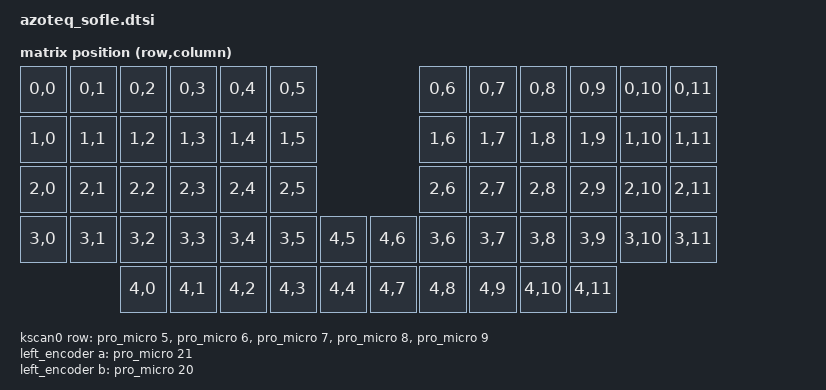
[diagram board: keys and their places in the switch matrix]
#include <dt-bindings/zmk/matrix_transform.h>
#include <dt-bindings/led/led.h>
#include <zephyr/dt-bindings/i2c/i2c.h>
#include <dt-bindings/pinctrl/nrf-pinctrl.h>

// #include "azoteq_sofle-layouts.dtsi"
#include "azoteq_sofle-pinctrl.dtsi"
#include <layouts/josefadamcik/sofle.dtsi>

&josefadamcik_sofle_layout {
    transform = <&default_transform>;
};

/ {
    chosen {
        zmk,kscan = &kscan0;
        zmk,matrix_transform = &default_transform;
        // zmk,physical-layout = &azoteq_sofle_layout;
        zmk,physical-layout = &josefadamcik_sofle_layout;
        zmk,underglow = &led_strip;
        zmk,battery = &vbatt;
    };

    default_transform: keymap_transform_0 {
        compatible = "zmk,matrix-transform";
        columns = <14>;
        rows = <5>;
        map = <
RC(0,0) RC(0,1) RC(0,2) RC(0,3) RC(0,4) RC(0,5)                 RC(0,6) RC(0,7) RC(0,8)  RC(0,9) RC(0,10) RC(0,11)
RC(1,0) RC(1,1) RC(1,2) RC(1,3) RC(1,4) RC(1,5)                 RC(1,6) RC(1,7) RC(1,8)  RC(1,9) RC(1,10) RC(1,11)
RC(2,0) RC(2,1) RC(2,2) RC(2,3) RC(2,4) RC(2,5)                 RC(2,6) RC(2,7) RC(2,8)  RC(2,9) RC(2,10) RC(2,11)
RC(3,0) RC(3,1) RC(3,2) RC(3,3) RC(3,4) RC(3,5) RC(4,5) RC(4,6) RC(3,6) RC(3,7) RC(3,8)  RC(3,9) RC(3,10) RC(3,11)
                RC(4,0) RC(4,1) RC(4,2) RC(4,3) RC(4,4) RC(4,7) RC(4,8) RC(4,9) RC(4,10) RC(4,11)
        >;
    };

    kscan0: kscan {
        wakeup-source;
        diode-direction = "col2row";
        row-gpios
            = <&pro_micro 5 (GPIO_ACTIVE_HIGH | GPIO_PULL_DOWN)>
            , <&pro_micro 6 (GPIO_ACTIVE_HIGH | GPIO_PULL_DOWN)>
            , <&pro_micro 7 (GPIO_ACTIVE_HIGH | GPIO_PULL_DOWN)>
            , <&pro_micro 8 (GPIO_ACTIVE_HIGH | GPIO_PULL_DOWN)>
            , <&pro_micro 9 (GPIO_ACTIVE_HIGH | GPIO_PULL_DOWN)>
            ;
    };

    left_encoder: encoder_left {
        status = "disabled";
        compatible = "alps,ec11";
        label = "LEFT_ENCODER";
        resolution = <4>;
        steps = <40>;
        a-gpios = <&pro_micro 21 (GPIO_ACTIVE_HIGH | GPIO_PULL_UP)>;
        b-gpios = <&pro_micro 20 (GPIO_ACTIVE_HIGH | GPIO_PULL_UP)>;
    };

    sensors {
		compatible = "zmk,keymap-sensors";
		sensors = <&left_encoder>;
	};

    vbatt: vbatt {
        compatible = "zmk,battery-nrf-vddh";
        init-delay-ms = <50>;
    };

};

&spi3 {
    status = "okay";
    compatible = "nordic,nrf-spim";
    pinctrl-0 = <&spi3_default>;
    pinctrl-1 = <&spi3_sleep>;
    pinctrl-names = "default", "sleep";

    led_strip: ws2812@0 {
        compatible = "worldsemi,ws2812-spi";

        /* SPI */
        reg = <0>; /* ignored, but necessary for SPI bindings */
        spi-max-frequency = <1000000>;

        /* WS2812 */
        chain-length = <7>; /* 6 LEDs on dongle - just for initialization */
        spi-one-frame = <0x70>;
        spi-zero-frame = <0x40>;

        color-mapping = <LED_COLOR_ID_GREEN LED_COLOR_ID_RED LED_COLOR_ID_BLUE>;
    };
};
